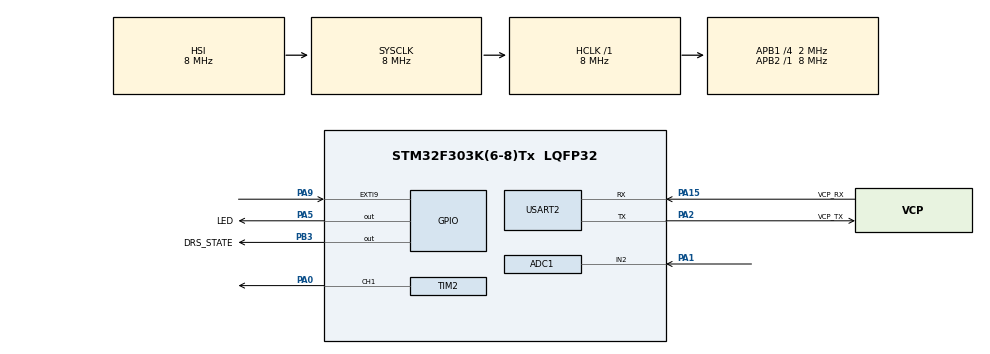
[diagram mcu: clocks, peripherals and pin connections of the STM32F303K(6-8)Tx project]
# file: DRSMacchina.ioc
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Mcu.Family=STM32F3
RCC.CortexFreq_Value=8000000
ADC1.Rank-0\#ChannelRegularConversion=1
PF0\ /\ OSC_IN.Mode=HSE-External-Clock-Source
ADC1.OffsetNumber-0\#ChannelRegularConversion=ADC_OFFSET_NONE
PA14.GPIO_Label=SWCLK
RCC.APB1CLKDivider=RCC_HCLK_DIV4
ProjectManager.StackSize=0x400
PA13.Signal=SYS_JTMS-SWDIO
PA15.GPIO_Label=VCP_RX
TIM1.Prescaler=32500
ProjectManager.TargetToolchain=STM32CubeIDE
ADC1.SamplingTimeOPAMP-0\#ChannelRegularConversion=ADC_SAMPLETIME_4CYCLES_5
ADC1.Offset-0\#ChannelRegularConversion=0
PA9.Signal=GPXTI9
ADC1.SubFamily=STM32F303x8
PA1.Signal=ADC1_IN2
RCC.AHBFreq_Value=8000000
PA5.Signal=GPIO_Output
ADC1.Channel-0\#ChannelRegularConversion=ADC_CHANNEL_2
RCC.HSE_VALUE=8000000
NVIC.TIM1_BRK_TIM15_IRQn=true\:0\:0\:false\:false\:true\:true\:true
board=NUCLEO-F303K8
USART2.VirtualMode-Asynchronous=VM_ASYNC
PA15.Mode=Asynchronous
RCC.PLLMUL=RCC_PLL_MUL4
NVIC.TIM1_TRG_COM_TIM17_IRQn=true\:0\:0\:false\:false\:true\:true\:true
RCC.APB2Freq_Value=8000000
PA1.Mode=IN2-Single-Ended
PF0\ /\ OSC_IN.Signal=RCC_OSC_IN
PA14.Mode=Serial_Wire
PF0\ /\ OSC_IN.GPIO_Label=MCO
TIM2.Channel-PWM\ Generation1\ CH1=TIM_CHANNEL_1
TIM2.Period=1000-1
PA13.Mode=Serial_Wire
Mcu.Name=STM32F303K(6-8)Tx
VP_TIM1_VS_ClockSourceINT.Mode=Internal
ADC1.SamplingTime-0\#ChannelRegularConversion=ADC_SAMPLETIME_1CYCLE_5
PA2.Signal=USART2_TX
PA13.GPIO_Label=SWDIO
PA0.Signal=S_TIM2_CH1_ETR
NVIC.TIM1_CC_IRQn=true\:0\:0\:false\:false\:true\:true\:true
PB3.Signal=GPIO_Output
RCC.SYSCLKFreq_VALUE=8000000
Mcu.Package=LQFP32
TIM2.Prescaler=80-1
ADC1.master=1
PA5.GPIO_Label=LED
PA2.GPIO_Label=VCP_TX
SH.S_TIM2_CH1_ETR.0=TIM2_CH1,PWM Generation1 CH1
NVIC.EXTI9_5_IRQn=true\:0\:0\:false\:false\:true\:true\:true
PA14.Signal=SYS_JTCK-SWCLK
PA15.Signal=USART2_RX
ProjectManager.HeapSize=0x200
RCC.HSI_VALUE=8000000
NVIC.TIM1_UP_TIM16_IRQn=true\:0\:0\:false\:false\:true\:true\:true
NVIC.PriorityGroup=NVIC_PRIORITYGROUP_4
ADC1.NbrOfConversionFlag=1
RCC.APB1TimFreq_Value=4000000
PA2.Mode=Asynchronous
TIM1.Period=50
RCC.APB1Freq_Value=2000000
PB3.GPIO_Label=DRS_STATE

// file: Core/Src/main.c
/* USER CODE BEGIN Header */
/**
  ******************************************************************************
  * @file           : main.c
  * @brief          : Main program body
  ******************************************************************************
  * @attention
  *
  * <h2><center>&copy; Copyright (c) 2021 STMicroelectronics.
  * All rights reserved.</center></h2>
  *
  * This software component is licensed by ST under BSD 3-Clause license,
  * the "License"; You may not use this file except in compliance with the
  * License. You may obtain a copy of the License at:
  *                        opensource.org/licenses/BSD-3-Clause
  *
  ******************************************************************************
  */
/* USER CODE END Header */
#include "main.h"

/* USER CODE BEGIN Includes */
#include <stdbool.h>
/* USER CODE END Includes */

ADC_HandleTypeDef hadc1;

TIM_HandleTypeDef htim1;
TIM_HandleTypeDef htim2;

UART_HandleTypeDef huart2;

void SystemClock_Config(void);
static void MX_GPIO_Init(void);
static void MX_USART2_UART_Init(void);
static void MX_TIM2_Init(void);
static void MX_ADC1_Init(void);
static void MX_TIM1_Init(void);

/* USER CODE BEGIN 0 */
bool state = true;
int potVal;
bool drs_flag = false;
/* USER CODE END 0 */

int main(void)
{
  /* USER CODE BEGIN 1 */
	char msg[10];
		  uint16_t raw;
  /* USER CODE END 1 */

  /* MCU Configuration--------------------------------------------------------*/

  /* Reset of all peripherals, Initializes the Flash interface and the Systick. */
  HAL_Init();

  /* Configure the system clock */
  SystemClock_Config();

  /* Initialize all configured peripherals */
  MX_GPIO_Init();
  MX_USART2_UART_Init();
  MX_TIM2_Init();
  MX_ADC1_Init();
  MX_TIM1_Init();
  /* USER CODE BEGIN 2 */
  HAL_TIM_PWM_Start(&htim2, TIM_CHANNEL_1);
  /* USER CODE END 2 */

  /* Infinite loop */
  while (1)
  {

    /* USER CODE BEGIN 3 */
	  HAL_ADC_Start(&hadc1);
	  HAL_ADC_PollForConversion(&hadc1, HAL_MAX_DELAY);
	  raw = HAL_ADC_GetValue(&hadc1);
	  sprintf(msg, "%hu\r\n", raw);
	  potVal = atoi(msg);
	  HAL_UART_Transmit(&huart2, (uint8_t*)msg, strlen(msg), HAL_MAX_DELAY);
	  if (potVal > 100 || (potVal > 100 && drs_flag)) {
		  HAL_GPIO_WritePin(LED_GPIO_Port, LED_Pin, 1);
		  closeDRS();
	  } else {
		  HAL_GPIO_WritePin(LED_GPIO_Port, LED_Pin, 0);
	  }
	  HAL_Delay(100);

  }
  /* USER CODE END 3 */
}

void SystemClock_Config(void)
{
  RCC_OscInitTypeDef RCC_OscInitStruct = {0};
  RCC_ClkInitTypeDef RCC_ClkInitStruct = {0};
  RCC_PeriphCLKInitTypeDef PeriphClkInit = {0};

  /** Initializes the RCC Oscillators according to the specified parameters
  * in the RCC_OscInitTypeDef structure.
  */
  RCC_OscInitStruct.OscillatorType = RCC_OSCILLATORTYPE_HSI;
  RCC_OscInitStruct.HSIState = RCC_HSI_ON;
  RCC_OscInitStruct.HSICalibrationValue = RCC_HSICALIBRATION_DEFAULT;
  RCC_OscInitStruct.PLL.PLLState = RCC_PLL_ON;
  RCC_OscInitStruct.PLL.PLLSource = RCC_PLLSOURCE_HSI;
  RCC_OscInitStruct.PLL.PLLMUL = RCC_PLL_MUL4;
  if (HAL_RCC_OscConfig(&RCC_OscInitStruct) != HAL_OK)
  {
    Error_Handler();
  }
  /** Initializes the CPU, AHB and APB buses clocks
  */
  RCC_ClkInitStruct.ClockType = RCC_CLOCKTYPE_HCLK|RCC_CLOCKTYPE_SYSCLK
                              |RCC_CLOCKTYPE_PCLK1|RCC_CLOCKTYPE_PCLK2;
  RCC_ClkInitStruct.SYSCLKSource = RCC_SYSCLKSOURCE_HSI;
  RCC_ClkInitStruct.AHBCLKDivider = RCC_SYSCLK_DIV1;
  RCC_ClkInitStruct.APB1CLKDivider = RCC_HCLK_DIV4;
  RCC_ClkInitStruct.APB2CLKDivider = RCC_HCLK_DIV1;

  if (HAL_RCC_ClockConfig(&RCC_ClkInitStruct, FLASH_LATENCY_0) != HAL_OK)
  {
    Error_Handler();
  }
  PeriphClkInit.PeriphClockSelection = RCC_PERIPHCLK_TIM1|RCC_PERIPHCLK_ADC12;
  PeriphClkInit.Adc12ClockSelection = RCC_ADC12PLLCLK_DIV1;
  PeriphClkInit.Tim1ClockSelection = RCC_TIM1CLK_HCLK;
  if (HAL_RCCEx_PeriphCLKConfig(&PeriphClkInit) != HAL_OK)
  {
    Error_Handler();
  }
}

static void MX_ADC1_Init(void)
{

  ADC_MultiModeTypeDef multimode = {0};
  ADC_ChannelConfTypeDef sConfig = {0};

  /** Common config
  */
  hadc1.Instance = ADC1;
  hadc1.Init.ClockPrescaler = ADC_CLOCK_ASYNC_DIV1;
  hadc1.Init.Resolution = ADC_RESOLUTION_12B;
  hadc1.Init.ScanConvMode = ADC_SCAN_DISABLE;
  hadc1.Init.ContinuousConvMode = DISABLE;
  hadc1.Init.DiscontinuousConvMode = DISABLE;
  hadc1.Init.ExternalTrigConvEdge = ADC_EXTERNALTRIGCONVEDGE_NONE;
  hadc1.Init.ExternalTrigConv = ADC_SOFTWARE_START;
  hadc1.Init.DataAlign = ADC_DATAALIGN_RIGHT;
  hadc1.Init.NbrOfConversion = 1;
  hadc1.Init.DMAContinuousRequests = DISABLE;
  hadc1.Init.EOCSelection = ADC_EOC_SINGLE_CONV;
  hadc1.Init.LowPowerAutoWait = DISABLE;
  hadc1.Init.Overrun = ADC_OVR_DATA_OVERWRITTEN;
  if (HAL_ADC_Init(&hadc1) != HAL_OK)
  {
    Error_Handler();
  }
  /** Configure the ADC multi-mode
  */
  multimode.Mode = ADC_MODE_INDEPENDENT;
  if (HAL_ADCEx_MultiModeConfigChannel(&hadc1, &multimode) != HAL_OK)
  {
    Error_Handler();
  }
  /** Configure Regular Channel
  */
  sConfig.Channel = ADC_CHANNEL_2;
  sConfig.Rank = ADC_REGULAR_RANK_1;
  sConfig.SingleDiff = ADC_SINGLE_ENDED;
  sConfig.SamplingTime = ADC_SAMPLETIME_1CYCLE_5;
  sConfig.OffsetNumber = ADC_OFFSET_NONE;
  sConfig.Offset = 0;
  if (HAL_ADC_ConfigChannel(&hadc1, &sConfig) != HAL_OK)
  {
    Error_Handler();
  }

}

static void MX_TIM1_Init(void)
{

  TIM_ClockConfigTypeDef sClockSourceConfig = {0};
  TIM_MasterConfigTypeDef sMasterConfig = {0};

  htim1.Instance = TIM1;
  htim1.Init.Prescaler = 32500;
  htim1.Init.CounterMode = TIM_COUNTERMODE_UP;
  htim1.Init.Period = 50;
  htim1.Init.ClockDivision = TIM_CLOCKDIVISION_DIV1;
  htim1.Init.RepetitionCounter = 0;
  htim1.Init.AutoReloadPreload = TIM_AUTORELOAD_PRELOAD_DISABLE;
  if (HAL_TIM_Base_Init(&htim1) != HAL_OK)
  {
    Error_Handler();
  }
  sClockSourceConfig.ClockSource = TIM_CLOCKSOURCE_INTERNAL;
  if (HAL_TIM_ConfigClockSource(&htim1, &sClockSourceConfig) != HAL_OK)
  {
    Error_Handler();
  }
  sMasterConfig.MasterOutputTrigger = TIM_TRGO_RESET;
  sMasterConfig.MasterOutputTrigger2 = TIM_TRGO2_RESET;
  sMasterConfig.MasterSlaveMode = TIM_MASTERSLAVEMODE_DISABLE;
  if (HAL_TIMEx_MasterConfigSynchronization(&htim1, &sMasterConfig) != HAL_OK)
  {
    Error_Handler();
  }

}

static void MX_TIM2_Init(void)
{

  TIM_MasterConfigTypeDef sMasterConfig = {0};
  TIM_OC_InitTypeDef sConfigOC = {0};

  htim2.Instance = TIM2;
  htim2.Init.Prescaler = 80-1;
  htim2.Init.CounterMode = TIM_COUNTERMODE_UP;
  htim2.Init.Period = 1000-1;
  htim2.Init.ClockDivision = TIM_CLOCKDIVISION_DIV1;
  htim2.Init.AutoReloadPreload = TIM_AUTORELOAD_PRELOAD_DISABLE;
  if (HAL_TIM_PWM_Init(&htim2) != HAL_OK)
  {
    Error_Handler();
  }
  sMasterConfig.MasterOutputTrigger = TIM_TRGO_RESET;
  sMasterConfig.MasterSlaveMode = TIM_MASTERSLAVEMODE_DISABLE;
  if (HAL_TIMEx_MasterConfigSynchronization(&htim2, &sMasterConfig) != HAL_OK)
  {
    Error_Handler();
  }
  sConfigOC.OCMode = TIM_OCMODE_PWM1;
  sConfigOC.Pulse = 0;
  sConfigOC.OCPolarity = TIM_OCPOLARITY_HIGH;
  sConfigOC.OCFastMode = TIM_OCFAST_DISABLE;
  if (HAL_TIM_PWM_ConfigChannel(&htim2, &sConfigOC, TIM_CHANNEL_1) != HAL_OK)
  {
    Error_Handler();
  }
  HAL_TIM_MspPostInit(&htim2);

}

static void MX_USART2_UART_Init(void)
{

  huart2.Instance = USART2;
  huart2.Init.BaudRate = 38400;
  huart2.Init.WordLength = UART_WORDLENGTH_8B;
  huart2.Init.StopBits = UART_STOPBITS_1;
  huart2.Init.Parity = UART_PARITY_NONE;
  huart2.Init.Mode = UART_MODE_TX_RX;
  huart2.Init.HwFlowCtl = UART_HWCONTROL_NONE;
  huart2.Init.OverSampling = UART_OVERSAMPLING_16;
  huart2.Init.OneBitSampling = UART_ONE_BIT_SAMPLE_DISABLE;
  huart2.AdvancedInit.AdvFeatureInit = UART_ADVFEATURE_NO_INIT;
  if (HAL_UART_Init(&huart2) != HAL_OK)
  {
    Error_Handler();
  }

}

static void MX_GPIO_Init(void)
{
  GPIO_InitTypeDef GPIO_InitStruct = {0};

  /* GPIO Ports Clock Enable */
  __HAL_RCC_GPIOF_CLK_ENABLE();
  __HAL_RCC_GPIOA_CLK_ENABLE();
  __HAL_RCC_GPIOB_CLK_ENABLE();

  /*Configure GPIO pin Output Level */
  HAL_GPIO_WritePin(LED_GPIO_Port, LED_Pin, GPIO_PIN_RESET);

  /*Configure GPIO pin Output Level */
  HAL_GPIO_WritePin(DRS_STATE_GPIO_Port, DRS_STATE_Pin, GPIO_PIN_RESET);

  /*Configure GPIO pin : LED_Pin */
  GPIO_InitStruct.Pin = LED_Pin;
  GPIO_InitStruct.Mode = GPIO_MODE_OUTPUT_PP;
  GPIO_InitStruct.Pull = GPIO_NOPULL;
  GPIO_InitStruct.Speed = GPIO_SPEED_FREQ_LOW;
  HAL_GPIO_Init(LED_GPIO_Port, &GPIO_InitStruct);

  /*Configure GPIO pin : PA9 */
  GPIO_InitStruct.Pin = GPIO_PIN_9;
  GPIO_InitStruct.Mode = GPIO_MODE_IT_RISING;
  GPIO_InitStruct.Pull = GPIO_NOPULL;
  HAL_GPIO_Init(GPIOA, &GPIO_InitStruct);

  /*Configure GPIO pin : DRS_STATE_Pin */
  GPIO_InitStruct.Pin = DRS_STATE_Pin;
  GPIO_InitStruct.Mode = GPIO_MODE_OUTPUT_PP;
  GPIO_InitStruct.Pull = GPIO_NOPULL;
  GPIO_InitStruct.Speed = GPIO_SPEED_FREQ_LOW;
  HAL_GPIO_Init(DRS_STATE_GPIO_Port, &GPIO_InitStruct);

  /* EXTI interrupt init*/
  HAL_NVIC_SetPriority(EXTI9_5_IRQn, 0, 0);
  HAL_NVIC_EnableIRQ(EXTI9_5_IRQn);

}

/* USER CODE BEGIN 4 */
void HAL_GPIO_EXTI_Callback(uint16_t GPIO_Pin) {

	if (GPIO_Pin == GPIO_PIN_9 && state == true) {
		HAL_TIM_Base_Start_IT(&htim1);
		state = false;
	} else {
		__NOP();
	}
}

void HAL_TIM_PeriodElapsedCallback(TIM_HandleTypeDef *htim)
{
  /* Prevent unused argument(s) compilation warning */
  UNUSED(htim);

  /* NOTE : This function should not be modified, when the callback is needed,
            the HAL_TIM_PeriodElapsedCallback could be implemented in the user file
   */
	if(HAL_GPIO_ReadPin(GPIOA, GPIO_PIN_9) == GPIO_PIN_RESET){
		if (drs_flag) {
			closeDRS();
		} else {
			openDRS();
		}
		state = true;
		HAL_TIM_Base_Stop_IT(&htim1);
	}
}

void openDRS() {
	if (potVal > 100) return;
	htim2.Instance->CCR1 = 85;  // duty cycle is 1.5 ms
	HAL_GPIO_WritePin(DRS_STATE_GPIO_Port, DRS_STATE_Pin, 1);
	drs_flag = true;
}

void closeDRS() {
	htim2.Instance->CCR1 = 72;  // duty cycle is 1.5 ms
	HAL_GPIO_WritePin(DRS_STATE_GPIO_Port, DRS_STATE_Pin, 0);
	drs_flag = false;
}

/* USER CODE END 4 */

void Error_Handler(void)
{
  __disable_irq();
  while (1)
  {
  }
}

/************************ (C) COPYRIGHT STMicroelectronics *****END OF FILE****/
